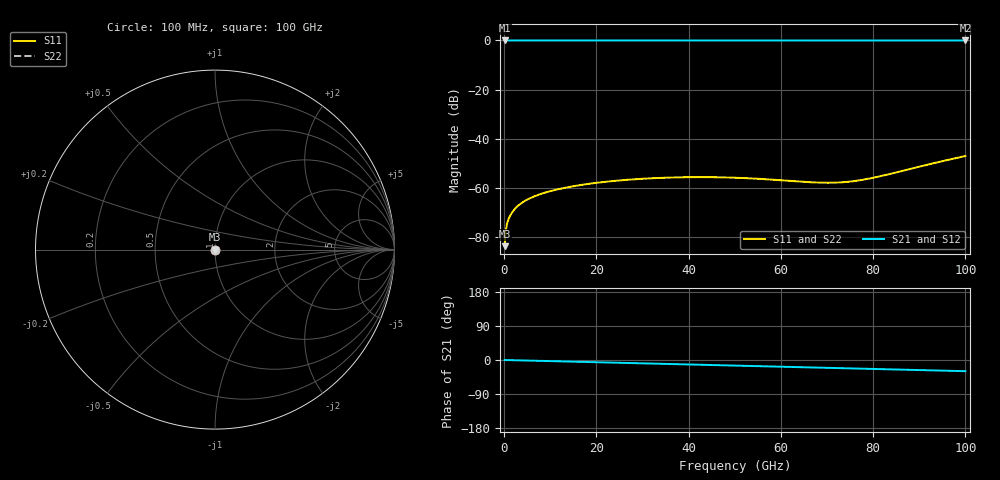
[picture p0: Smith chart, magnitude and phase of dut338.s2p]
! Touchstone file exported from HFSS 2026.1.0
!  File:  C:/ffzhzh/LocalFiles/Ansys_Project_Files/temp_train_TSV_338_1783509812_9504.aedt
!  Generated:  07:24:53 PM Jul  8, 2026
!  Design:  TSV
!  Project:  temp_train_TSV_338_1783509812_9504
! Variables:
!  h_bsmrdl = 2um
!  h_ox = 20um
!  h_rdl = 5um
!  h_sub = 52.96um
!  h_tmrdl = 5um
!  h_tsv = 52.96um
!  h_via = 3um
!  l_bsmrdl = 300um
!  l_sub = 429.1um
!  l_tmrdl = 200um
!  m_sub = 200um
!  pitch = 57.78um
!  r_tsv = 14.55um
!  s_tmrdl = 10um
!  w_bsmrdl = 18um
!  w_sub = 500um
!  w_tmrdl = 12um
!  x_tsv_center1 = 206um
!  x_tsv_center2 = 524um
!  x_tsv_center3 = 736um
!  x_tsv_center4 = 1054um
!  x_tsv_center5 = 1266um
!  x_tsv_center6 = 1584um
# GHz S MA R 50.000000
! Terminal data exported
! Port[1] = TSV1_1_T1
! Port[2] = TSV1_1_T2
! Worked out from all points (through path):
!   1000 points, 100 MHz to 100 GHz, reference 50 ohm
!   highest |S21| = 0.00 dB at 100 MHz (marker M1); lowest = 0.0 dB at 100 GHz (marker M2)
!   group delay of S21, straight-line fit = 818 fs
!   lowest |S11| = -83.7 dB at 100 MHz (marker M3), VSWR 1.00, Z = 50 + j0.00331 ohm
!   |S11| at or under -10 dB: start of sweep to end of sweep
!   |S22| runs from -83.7 to -47.1 dB; largest |S21 - S12| = 2.1e-15
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0.1  6.51e-05 30.6  0.9999 -0.0  0.9999 -0.0  6.51e-05 30.6
! Gamma 0 0 0 0
! Port Impedance 50 0 50 0
0.4  0.0001423 48.5  0.9999 -0.1  0.9999 -0.1  0.0001423 48.5
0.9  0.0002244 48.0  0.9998 -0.3  0.9998 -0.3  0.0002244 48.0
1.2  0.0002601 48.4  0.9998 -0.4  0.9998 -0.4  0.0002601 48.4
1.5  0.0002928 49.0  0.9998 -0.4  0.9998 -0.4  0.0002928 49.0
2.6  0.0003986 50.2  0.9997 -0.8  0.9997 -0.8  0.0003986 50.2
4.1  0.0005154 50.7  0.9997 -1.2  0.9997 -1.2  0.0005153 50.7
6.3  0.0006567 51.2  0.9996 -1.9  0.9996 -1.9  0.0006566 51.3
9.1  0.0008124 51.4  0.9995 -2.7  0.9995 -2.7  0.0008121 51.5
12.6  0.0009792 51.1  0.9994 -3.7  0.9994 -3.7  0.0009787 51.2
16.8  0.001152 50.6  0.9993 -4.9  0.9993 -4.9  0.001151 50.7
24.6  0.001406 48.7  0.9992 -7.2  0.9992 -7.2  0.001404 48.8
33.4  0.00159 45.0  0.9991 -9.8  0.9991 -9.8  0.001586 45.2
41.8  0.001655 39.7  0.9989 -12.3  0.9989 -12.3  0.001649 39.9
50.1  0.001609 31.7  0.9988 -14.7  0.9988 -14.7  0.001599 32.1
66.7  0.001298 -3.5  0.9986 -19.6  0.9986 -19.6  0.001274 -3.2
71  0.001273 -20.2  0.9986 -20.9  0.9986 -20.9  0.001245 -20.2
74.8  0.001337 -36.9  0.9985 -22.0  0.9985 -22.0  0.001307 -37.3
78.6  0.00151 -53.2  0.9985 -23.1  0.9985 -23.1  0.001481 -53.9
83.4  0.001895 -70.4  0.9984 -24.5  0.9984 -24.5  0.001868 -71.3
93.5  0.003238 -93.6  0.9982 -27.6  0.9982 -27.6  0.003219 -94.4
100  0.004442 -102.7  0.9981 -29.5  0.9981 -29.5  0.004427 -103.3
